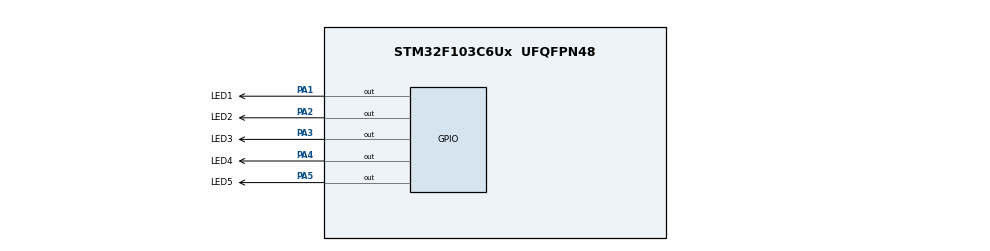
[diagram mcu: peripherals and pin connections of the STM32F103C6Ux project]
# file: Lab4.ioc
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Mcu.Family=STM32F1
Mcu.Name=STM32F103C6Ux
Mcu.Package=UFQFPN48
NVIC.PriorityGroup=NVIC_PRIORITYGROUP_4
NVIC.TIM2_IRQn=true\:0\:0\:false\:false\:true\:true\:true
PA1.GPIO_Label=LED1
PA1.Signal=GPIO_Output
PA2.GPIO_Label=LED2
PA2.Signal=GPIO_Output
PA3.GPIO_Label=LED3
PA3.Signal=GPIO_Output
PA4.GPIO_Label=LED4
PA4.Signal=GPIO_Output
PA5.GPIO_Label=LED5
PA5.Signal=GPIO_Output
ProjectManager.HeapSize=0x200
ProjectManager.StackSize=0x400
ProjectManager.TargetToolchain=STM32CubeIDE
RCC.APB1Freq_Value=8000000
RCC.APB2Freq_Value=8000000
TIM2.Period=9
TIM2.Prescaler=7999
VP_SYS_VS_ND.Mode=No_Debug
VP_TIM2_VS_ClockSourceINT.Mode=Internal
board=custom

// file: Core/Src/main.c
/* USER CODE BEGIN Header */
/**
  ******************************************************************************
  * @file           : main.c
  * @brief          : Main program body
  ******************************************************************************
  * @attention
  *
  * <h2><center>&copy; Copyright (c) 2023 STMicroelectronics.
  * All rights reserved.</center></h2>
  *
  * This software component is licensed by ST under BSD 3-Clause license,
  * the "License"; You may not use this file except in compliance with the
  * License. You may obtain a copy of the License at:
  *                        opensource.org/licenses/BSD-3-Clause
  *
  ******************************************************************************
  */
/* USER CODE END Header */
#include "main.h"
#include <stdio.h>

/* USER CODE BEGIN PM */
volatile uint32_t timer_ticks = 0; // counter interrupt
/* USER CODE END PM */

TIM_HandleTypeDef htim2;

void SystemClock_Config(void);
static void MX_TIM2_Init(void);
static void MX_GPIO_Init(void);

/* USER CODE BEGIN 0 */
void LED1(void)
{
  HAL_GPIO_TogglePin(GPIOA, LED1_Pin);
}
void LED2(void)
{
  HAL_GPIO_TogglePin(GPIOA, LED2_Pin);
}
void LED3(void)
{
  HAL_GPIO_TogglePin(GPIOA, LED3_Pin);
}
void LED4(void)
{
  HAL_GPIO_TogglePin(GPIOA, LED4_Pin);
}
void LED5(void)
{
  HAL_GPIO_TogglePin(GPIOA, LED5_Pin);
}

/* USER CODE END 0 */

int main(void)
{
  /* USER CODE BEGIN 1 */
	uint32_t get_time(void) {
	    return timer_ticks * 10;  //
	}

	void Callback_10ms() {
	    printf("10ms callback: %lu\n", get_time());
	}

	void Callback_500ms() {
	    printf("500ms callback: %lu\n", get_time());
	}
  /* USER CODE END 1 */

  /* MCU Configuration--------------------------------------------------------*/

  /* Reset of all peripherals, Initializes the Flash interface and the Systick. */
  HAL_Init();

  /* USER CODE BEGIN Init */
  SCH_Add_Task(Callback_10ms, 1, 1);
  SCH_Add_Task(Callback_500ms, 50, 50);
  /* USER CODE END Init */

  /* Configure the system clock */
  SystemClock_Config();

  /* Initialize all configured peripherals */
  MX_TIM2_Init();
  MX_GPIO_Init();
  /* USER CODE BEGIN 2 */
  HAL_TIM_Base_Start_IT(&htim2);
  SCH_Init();
  SCH_Add_Task(LED1, 100, 50);
  SCH_Add_Task(LED2, 200, 100);
  SCH_Add_Task(LED3, 300, 150);
  SCH_Add_Task(LED4, 400, 200);
  SCH_Add_Task(LED5, 500, 250);
  /* USER CODE END 2 */

  /* Infinite loop */
  while (1)
  {
	  SCH_Dispatch_Tasks();
  }
}

void SystemClock_Config(void)
{
  RCC_OscInitTypeDef RCC_OscInitStruct = {0};
  RCC_ClkInitTypeDef RCC_ClkInitStruct = {0};

  /** Initializes the RCC Oscillators according to the specified parameters
  * in the RCC_OscInitTypeDef structure.
  */
  RCC_OscInitStruct.OscillatorType = RCC_OSCILLATORTYPE_HSI;
  RCC_OscInitStruct.HSIState = RCC_HSI_ON;
  RCC_OscInitStruct.HSICalibrationValue = RCC_HSICALIBRATION_DEFAULT;
  RCC_OscInitStruct.PLL.PLLState = RCC_PLL_NONE;
  if (HAL_RCC_OscConfig(&RCC_OscInitStruct) != HAL_OK)
  {
    Error_Handler();
  }
  /** Initializes the CPU, AHB and APB buses clocks
  */
  RCC_ClkInitStruct.ClockType = RCC_CLOCKTYPE_HCLK|RCC_CLOCKTYPE_SYSCLK
                              |RCC_CLOCKTYPE_PCLK1|RCC_CLOCKTYPE_PCLK2;
  RCC_ClkInitStruct.SYSCLKSource = RCC_SYSCLKSOURCE_HSI;
  RCC_ClkInitStruct.AHBCLKDivider = RCC_SYSCLK_DIV1;
  RCC_ClkInitStruct.APB1CLKDivider = RCC_HCLK_DIV1;
  RCC_ClkInitStruct.APB2CLKDivider = RCC_HCLK_DIV1;

  if (HAL_RCC_ClockConfig(&RCC_ClkInitStruct, FLASH_LATENCY_0) != HAL_OK)
  {
    Error_Handler();
  }
}

static void MX_TIM2_Init(void)
{

  TIM_ClockConfigTypeDef sClockSourceConfig = {0};
  TIM_MasterConfigTypeDef sMasterConfig = {0};

  htim2.Instance = TIM2;
  htim2.Init.Prescaler = 7999;
  htim2.Init.CounterMode = TIM_COUNTERMODE_UP;
  htim2.Init.Period = 9;
  htim2.Init.ClockDivision = TIM_CLOCKDIVISION_DIV1;
  htim2.Init.AutoReloadPreload = TIM_AUTORELOAD_PRELOAD_DISABLE;
  if (HAL_TIM_Base_Init(&htim2) != HAL_OK)
  {
    Error_Handler();
  }
  sClockSourceConfig.ClockSource = TIM_CLOCKSOURCE_INTERNAL;
  if (HAL_TIM_ConfigClockSource(&htim2, &sClockSourceConfig) != HAL_OK)
  {
    Error_Handler();
  }
  sMasterConfig.MasterOutputTrigger = TIM_TRGO_RESET;
  sMasterConfig.MasterSlaveMode = TIM_MASTERSLAVEMODE_DISABLE;
  if (HAL_TIMEx_MasterConfigSynchronization(&htim2, &sMasterConfig) != HAL_OK)
  {
    Error_Handler();
  }

}

static void MX_GPIO_Init(void)
{
  GPIO_InitTypeDef GPIO_InitStruct = {0};

  /* GPIO Ports Clock Enable */
  __HAL_RCC_GPIOA_CLK_ENABLE();

  /*Configure GPIO pin Output Level */
  HAL_GPIO_WritePin(GPIOA, LED1_Pin|LED2_Pin|LED3_Pin|LED4_Pin
                          |LED5_Pin, GPIO_PIN_RESET);

  /*Configure GPIO pins : LED1_Pin LED2_Pin LED3_Pin LED4_Pin
                           LED5_Pin */
  GPIO_InitStruct.Pin = LED1_Pin|LED2_Pin|LED3_Pin|LED4_Pin
                          |LED5_Pin;
  GPIO_InitStruct.Mode = GPIO_MODE_OUTPUT_PP;
  GPIO_InitStruct.Pull = GPIO_NOPULL;
  GPIO_InitStruct.Speed = GPIO_SPEED_FREQ_LOW;
  HAL_GPIO_Init(GPIOA, &GPIO_InitStruct);

}

/* USER CODE BEGIN 4 */
void HAL_TIM_PeriodElapsedCallback(TIM_HandleTypeDef *htim)
{
    if (htim->Instance == TIM2) {
        timer_ticks++;  // Tăng biến đếm mỗi khi có ngắt từ TIM2
        SCH_Update();
    }
}
/* USER CODE END 4 */

void Error_Handler(void)
{
  __disable_irq();
  while (1)
  {
  }
}

/************************ (C) COPYRIGHT STMicroelectronics *****END OF FILE****/
